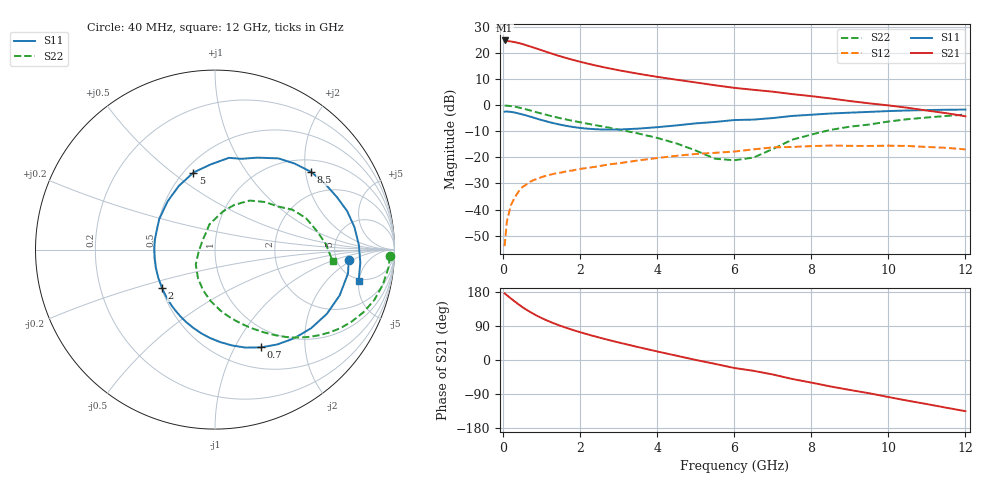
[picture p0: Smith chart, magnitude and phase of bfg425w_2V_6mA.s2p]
! Filename: 26bfg425.001
! BFG425W Field C1
! V1=8.342E-001V,V2=2.000E+000V, I1=7.965E-005A, I2=6.010E-003A
# GHz  S  MA  R 50
!  S11  S21  S12  S22
!Freq(GHz)  Mag  Ang  Mag  Ang  Mag  Ang  Mag  Ang
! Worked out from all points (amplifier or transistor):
!   44 points, 40 MHz to 12 GHz, reference 50 ohm
!   highest |S21| = 24.7 dB at 40 MHz (marker M1)
!   |S21| within 3 dB of that: start of sweep to 847.2 MHz
!   unconditionally stable (mu >= 1): 2.286 GHz to end of sweep
!   at 700 MHz: K = 0.38, MSG = 25.9 dB, |S12| = -29.4 dB
!   at 2.4 GHz: K = 1.03, MAG = 18.3 dB, |S12| = -23.6 dB
!   at 12 GHz: K = 1.46, MAG = 2.3 dB, |S12| = -17.0 dB
!   S11 on the Smith chart (normalised r, x): 40 MHz: 6.47, -1.66; 700 MHz: 0.75, -1.28; 2 GHz: 0.50, -0.25; 5 GHz: 0.56, +0.60; 8.5 GHz: 1.31, +2.15; 12 GHz: 4.68, -4.96
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0.04  0.747 -4.4  17.19 175.8  0.002 73.9  0.975 -2.2
0.1  0.753 -10.1  16.82 171.0  0.006 84.3  0.972 -5.9
0.2  0.74 -20.1  16.45 162.5  0.012 78.2  0.955 -11.9
0.3  0.719 -29.8  15.97 154.7  0.017 73.5  0.931 -17.5
0.4  0.692 -39.3  15.37 147.0  0.022 68.3  0.899 -22.7
0.5  0.662 -48.4  14.71 139.6  0.027 63.8  0.863 -27.5
0.6  0.632 -56.8  13.95 133.0  0.03 59.9  0.827 -31.8
0.7  0.602 -64.8  13.2 127.0  0.034 56.3  0.789 -35.7
0.8  0.572 -72.7  12.5 121.1  0.037 53.3  0.753 -39.3
1  0.516 -86.8  11.15 110.7  0.042 48.4  0.686 -45.5
1.3  0.452 -105.7  9.434 97.5  0.048 43.0  0.603 -53.1
1.6  0.405 -123.0  8.091 86.3  0.053 39.2  0.537 -59.3
2  0.365 -143.7  6.727 73.4  0.06 35.4  0.468 -66.7
2.2  0.353 -153.6  6.188 67.5  0.063 33.7  0.439 -70.3
3  0.34 170.8  4.633 46.3  0.077 27.0  0.341 -84.9
3.5  0.354 151.6  3.978 34.2  0.087 22.0  0.287 -95.0
4.5  0.408 119.6  3.053 11.4  0.107 10.3  0.185 -120.9
5  0.446 105.6  2.705 0.1  0.116 2.7  0.135 -142.5
6.5  0.527 73.7  1.956 -28.6  0.142 -13.6  0.099 123.9
8.5  0.689 38.9  1.338 -69.8  0.168 -49.2  0.335 54.6
10.5  0.787 9.1  0.887 -107.3  0.165 -83.9  0.536 19.2
12  0.819 -12.3  0.61 -135.0  0.142 -113.8  0.658 -5.5
